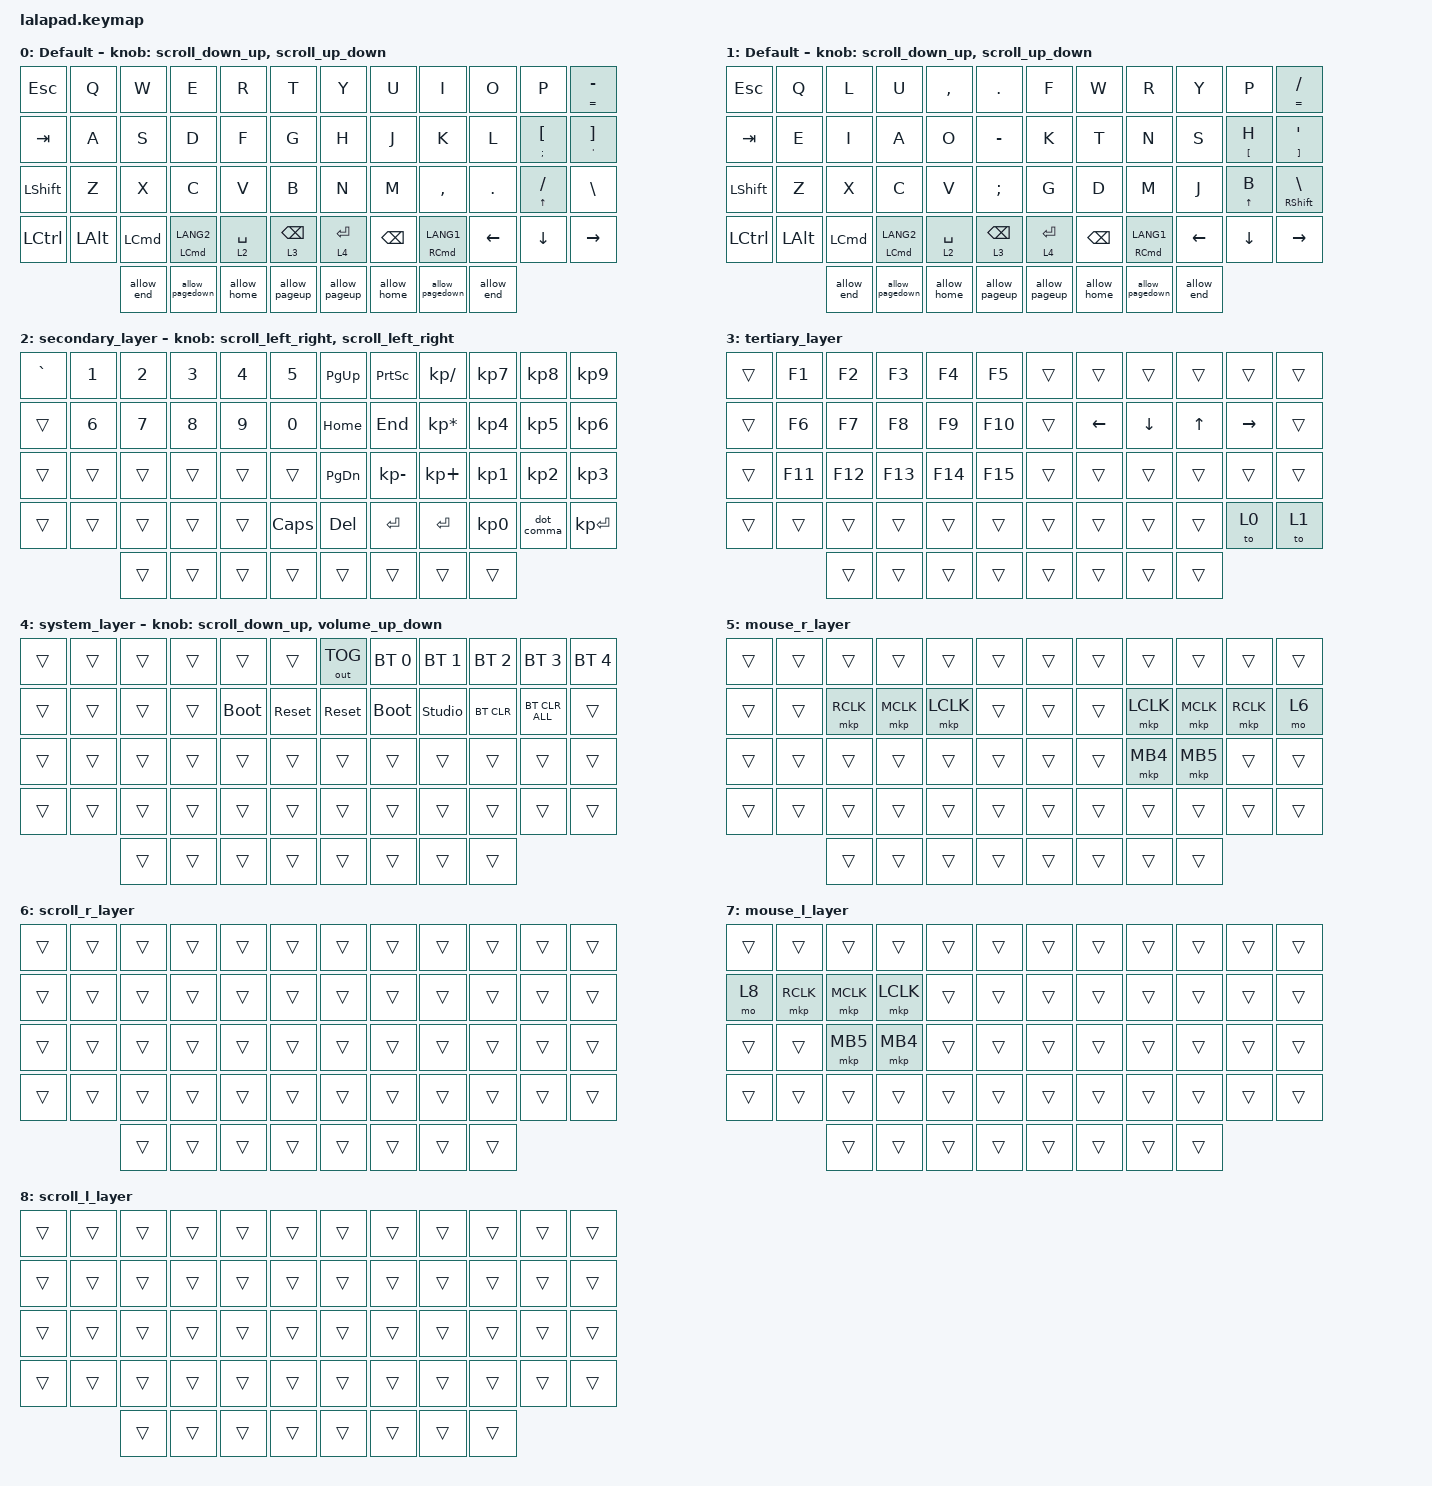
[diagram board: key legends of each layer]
#include <input/processors.dtsi>
#include <behaviors.dtsi>
#include <dt-bindings/zmk/bt.h>
#include <dt-bindings/zmk/keys.h>
#include <dt-bindings/zmk/outputs.h>
#include <dt-bindings/zmk/pointing.h>

#define DEFAULT_LAYER     0
#define O24_DEFAULT_LAYER 1
#define SECONDARY_LAYER   2
#define TERTIARY_LAYER    3
#define SYSTEM_LAYER      4
#define MOUSE_R_LAYER     5
#define SCROLL_R_LAYER    6
#define MOUSE_L_LAYER     7
#define SCROLL_L_LAYER    8

// Mouse Scroll Value

#define ZMK_POINTING_DEFAULT_SCRL_VAL 100

// cirque trackpad input&layer control

&glidepoint_listener_R {
    input-processors =
        <&zip_xy_transform (INPUT_TRANSFORM_XY_SWAP | INPUT_TRANSFORM_X_INVERT | INPUT_TRANSFORM_Y_INVERT)>,
        <&zip_xy_scaler 3 2>,
        <&zip_temp_layer MOUSE_R_LAYER 500>;

    lowspeedmode {
        layers = <SECONDARY_LAYER>;
        input-processors =
            <&zip_xy_transform (INPUT_TRANSFORM_XY_SWAP | INPUT_TRANSFORM_X_INVERT | INPUT_TRANSFORM_Y_INVERT)>,
            <&zip_xy_scaler 3 5>,
            <&zip_temp_layer MOUSE_R_LAYER 500>;
    };

    scroller {
        layers = <SCROLL_R_LAYER>;
        input-processors =
            <&zip_xy_to_scroll_mapper>,
            <&zip_scroll_transform (INPUT_TRANSFORM_XY_SWAP | INPUT_TRANSFORM_Y_INVERT)>,
            <&zip_scroll_scaler 1 8>;
    };
};

&glidepoint_listener_L {
    input-processors =
        <&zip_xy_transform (INPUT_TRANSFORM_XY_SWAP | INPUT_TRANSFORM_X_INVERT | INPUT_TRANSFORM_Y_INVERT)>,
        <&zip_xy_scaler 3 2>,
        <&zip_temp_layer MOUSE_L_LAYER 500>;

    lowspeedmode {
        layers = <SECONDARY_LAYER>;
        input-processors =
            <&zip_xy_transform (INPUT_TRANSFORM_XY_SWAP | INPUT_TRANSFORM_X_INVERT | INPUT_TRANSFORM_Y_INVERT)>,
            <&zip_xy_scaler 3 4>,
            <&zip_temp_layer MOUSE_L_LAYER 500>;
    };

    scroller {
        layers = <SCROLL_L_LAYER>;
        input-processors =
            <&zip_xy_to_scroll_mapper>,
            <&zip_scroll_transform (INPUT_TRANSFORM_XY_SWAP | INPUT_TRANSFORM_Y_INVERT)>,
            <&zip_scroll_scaler 1 6>;
    };
};

/ {
    behaviors {
        // Encoder to Mouse Scroll

        scroll_up_down: sensor_scroll_up_down {
            compatible = "zmk,behavior-sensor-rotate";
            #sensor-binding-cells = <0>;
            bindings = <&msc SCRL_UP>, <&msc SCRL_DOWN>;

            tap-ms = <20>;
            label = "SCROLL_UP_DOWN";
        };

        scroll_down_up: sensor_scroll_down_up {
            compatible = "zmk,behavior-sensor-rotate";
            #sensor-binding-cells = <0>;
            bindings = <&msc SCRL_DOWN>, <&msc SCRL_UP>;

            tap-ms = <20>;
            label = "SCROLL_DOWN_UP";
        };

        scroll_left_right: sensor_scroll_left_right {
            compatible = "zmk,behavior-sensor-rotate";
            #sensor-binding-cells = <0>;
            bindings = <&msc SCRL_LEFT>, <&msc SCRL_RIGHT>;

            tap-ms = <20>;
            label = "SCROLL_LEFT_RIGHT";
        };

        scroll_right_left: sensor_scroll_right_left {
            compatible = "zmk,behavior-sensor-rotate";
            #sensor-binding-cells = <0>;
            bindings = <&msc SCRL_RIGHT>, <&msc SCRL_LEFT>;

            tap-ms = <20>;
            label = "SCROLL_RIGHT_LEFT";
        };

        volume_up_down: sensor_volume_up_down {
            compatible = "zmk,behavior-sensor-rotate";
            #sensor-binding-cells = <0>;
            bindings = <&kp C_VOLUME_UP>, <&kp C_VOLUME_DOWN>;

            tap-ms = <20>;
            label = "VOLUME_UP_DOWN";
        };

        dot_comma: dot_comma {
            compatible = "zmk,behavior-mod-morph";
            #binding-cells = <0>;
            bindings = <&kp KP_DOT>, <&kp COMMA>;

            mods = <(MOD_LSFT|MOD_RSFT)>;
            label = "DOT_COMMA";
        };

        pls_minus: pls_minus {
            compatible = "zmk,behavior-mod-morph";
            #binding-cells = <0>;
            bindings = <&kp PLUS>, <&kp MINUS>;

            mods = <(MOD_LSFT|MOD_RSFT)>;
            label = "PLS_MINUS";
        };

        allow_pageup: allow_pageup {
            compatible = "zmk,behavior-mod-morph";
            #binding-cells = <0>;
            bindings = <&kp UP>, <&kp PAGE_UP>;

            mods = <(MOD_LCTL|MOD_RCTL)>;
            label = "ALLOW_PAGEUP";
        };

        allow_pagedown: allow_pagedown {
            compatible = "zmk,behavior-mod-morph";
            #binding-cells = <0>;
            bindings = <&kp DOWN>, <&kp PAGE_DOWN>;

            mods = <(MOD_LCTL|MOD_RCTL)>;
            label = "ALLOW_PAGEDOWN";
        };

        allow_home: allow_home {
            compatible = "zmk,behavior-mod-morph";
            #binding-cells = <0>;
            bindings = <&kp LEFT>, <&kp HOME>;

            mods = <(MOD_LCTL|MOD_RCTL)>;
            label = "ALLOW_HOME";
        };

        allow_end: allow_end {
            compatible = "zmk,behavior-mod-morph";
            #binding-cells = <0>;
            bindings = <&kp RIGHT>, <&kp END>;

            mods = <(MOD_LCTL|MOD_RCTL)>;
            label = "ALLOW_END";
        };

        mt2: mod_tap2 {
            compatible = "zmk,behavior-hold-tap";
            #binding-cells = <2>;
            flavor = "tap-preferred";
            tapping-term-ms = <200>;
            quick-tap-ms = <200>;
            require-prior-idle-ms = <125>;
            bindings = <&kp>, <&kp>;
        };

        lt2: layer_tap2 {
            compatible = "zmk,behavior-hold-tap";
            label = "LT2";
            bindings = <&mo>, <&kp>;

            #binding-cells = <2>;
            tapping-term-ms = <200>;
            quick-tap-ms = <200>;
            flavor = "tap-preferred";
        };
    };

    combos {
        compatible = "zmk,combos";

        Enter {
            bindings = <&kp ENTER>;
            key-positions = <43 44>;
        };

        Shift {
            bindings = <&kp RIGHT_SHIFT>;
            key-positions = <33 34>;
        };
    };

    keymap {
        compatible = "zmk,keymap";

        DEFAULT_LAYER {
            display-name = "Default";
            sensor-bindings = <&scroll_down_up>, <&scroll_up_down>;

            bindings = <
&kp ESC    &kp Q         &kp W             &kp E                   &kp R         &kp T             &kp Y          &kp U          &kp I                    &kp O       &kp P           &mt EQUAL MINUS
&kp TAB    &kp A         &kp S             &kp D                   &kp F         &kp G             &kp H          &kp J          &kp K                    &kp L       &mt2 SEMI LBKT  &mt2 SQT RBKT
&kp LSHFT  &kp Z         &kp X             &kp C                   &kp V         &kp B             &kp N          &kp M          &kp COMMA                &kp PERIOD  &mt2 UP SLASH   &kp BSLH
&kp LCTRL  &kp LEFT_ALT  &kp LEFT_COMMAND  &mt LEFT_COMMAND LANG2  &lt2 2 SPACE  &lt2 3 BACKSPACE  &lt 4 RETURN   &kp BACKSPACE  &mt RIGHT_COMMAND LANG1  &kp LEFT    &kp DOWN        &kp RIGHT
                         &allow_end        &allow_pagedown         &allow_home   &allow_pageup     &allow_pageup  &allow_home    &allow_pagedown          &allow_end
            >;
        };

        O24_DEFAULT_LAYER {
            display-name = "Default";
            bindings = <
&kp ESC    &kp Q         &kp L             &kp U                   &kp COMMA     &kp PERIOD        &kp F          &kp W          &kp R                    &kp Y       &kp P        &mt EQUAL SLASH
&kp TAB    &kp E         &kp I             &kp A                   &kp O         &kp MINUS         &kp K          &kp T          &kp N                    &kp S       &mt2 LBKT H  &mt2 RIGHT_BRACKET SQT
&kp LSHFT  &kp Z         &kp X             &kp C                   &kp V         &kp SEMICOLON     &kp G          &kp D          &kp M                    &kp J       &mt2 UP B    &mt RSHFT BSLH
&kp LCTRL  &kp LEFT_ALT  &kp LEFT_COMMAND  &mt LEFT_COMMAND LANG2  &lt2 2 SPACE  &lt2 3 BACKSPACE  &lt 4 RETURN   &kp BACKSPACE  &mt RIGHT_COMMAND LANG1  &kp LEFT    &kp DOWN     &kp RIGHT
                         &allow_end        &allow_pagedown         &allow_home   &allow_pageup     &allow_pageup  &allow_home    &allow_pagedown          &allow_end
            >;

            sensor-bindings = <&scroll_down_up>, <&scroll_up_down>;
        };

        SECONDARY_LAYER {
            display-name = "secondary_layer";
            sensor-bindings = <&scroll_left_right>, <&scroll_left_right>;

            bindings = <
&kp GRAVE  &kp NUMBER_1  &kp NUMBER_2  &kp NUMBER_3  &kp NUMBER_4  &kp NUMBER_5  &kp PAGE_UP    &kp PRINTSCREEN  &kp KP_SLASH     &kp KP_NUMBER_7  &kp KP_NUMBER_8  &kp KP_NUMBER_9
&trans     &kp NUMBER_6  &kp NUMBER_7  &kp NUMBER_8  &kp NUMBER_9  &kp NUMBER_0  &kp HOME       &kp END          &kp KP_ASTERISK  &kp KP_NUMBER_4  &kp KP_NUMBER_5  &kp KP_NUMBER_6
&trans     &trans        &trans        &trans        &trans        &trans        &kp PAGE_DOWN  &kp KP_MINUS     &kp KP_PLUS      &kp KP_NUMBER_1  &kp KP_NUMBER_2  &kp KP_NUMBER_3
&trans     &trans        &trans        &trans        &trans        &kp CAPS      &kp DELETE     &kp RETURN       &kp RET          &kp KP_NUMBER_0  &dot_comma       &kp KP_ENTER
                         &trans        &trans        &trans        &trans        &trans         &trans           &trans           &trans
            >;
        };

        TERTIARY_LAYER {
            display-name = "tertiary_layer";
            bindings = <
&trans  &kp F1   &kp F2   &kp F3   &kp F4   &kp F5   &trans  &trans          &trans          &trans        &trans           &trans
&trans  &kp F6   &kp F7   &kp F8   &kp F9   &kp F10  &trans  &kp LEFT_ARROW  &kp DOWN_ARROW  &kp UP_ARROW  &kp RIGHT_ARROW  &trans
&trans  &kp F11  &kp F12  &kp F13  &kp F14  &kp F15  &trans  &trans          &trans          &trans        &trans           &trans
&trans  &trans   &trans   &trans   &trans   &trans   &trans  &trans          &trans          &trans        &to 0            &to 1
                 &trans   &trans   &trans   &trans   &trans  &trans          &trans          &trans
            >;
        };

        SYSTEM_LAYER {
            display-name = "system_layer";
            sensor-bindings = <&scroll_down_up>, <&volume_up_down>;

            bindings = <
&trans  &trans  &trans  &trans  &trans       &trans      &out OUT_TOG  &bt BT_SEL 0  &bt BT_SEL 1    &bt BT_SEL 2  &bt BT_SEL 3    &bt BT_SEL 4
&trans  &trans  &trans  &trans  &bootloader  &sys_reset  &sys_reset    &bootloader   &studio_unlock  &bt BT_CLR    &bt BT_CLR_ALL  &trans
&trans  &trans  &trans  &trans  &trans       &trans      &trans        &trans        &trans          &trans        &trans          &trans
&trans  &trans  &trans  &trans  &trans       &trans      &trans        &trans        &trans          &trans        &trans          &trans
                &trans  &trans  &trans       &trans      &trans        &trans        &trans          &trans
            >;
        };

        MOUSE_R_LAYER {
            display-name = "mouse_r_layer";
            bindings = <
&trans  &trans  &trans     &trans     &trans     &trans  &trans  &trans  &trans     &trans     &trans     &trans
&trans  &trans  &mkp RCLK  &mkp MCLK  &mkp LCLK  &trans  &trans  &trans  &mkp LCLK  &mkp MCLK  &mkp RCLK  &mo 6
&trans  &trans  &trans     &trans     &trans     &trans  &trans  &trans  &mkp MB4   &mkp MB5   &trans     &trans
&trans  &trans  &trans     &trans     &trans     &trans  &trans  &trans  &trans     &trans     &trans     &trans
                &trans     &trans     &trans     &trans  &trans  &trans  &trans     &trans
            >;
        };

        SCROLL_R_LAYER {
            display-name = "scroll_r_layer";
            bindings = <
&trans  &trans  &trans  &trans  &trans  &trans  &trans  &trans  &trans  &trans  &trans  &trans
&trans  &trans  &trans  &trans  &trans  &trans  &trans  &trans  &trans  &trans  &trans  &trans
&trans  &trans  &trans  &trans  &trans  &trans  &trans  &trans  &trans  &trans  &trans  &trans
&trans  &trans  &trans  &trans  &trans  &trans  &trans  &trans  &trans  &trans  &trans  &trans
                &trans  &trans  &trans  &trans  &trans  &trans  &trans  &trans
            >;
        };

        MOUSE_L_LAYER {
            display-name = "mouse_l_layer";
            bindings = <
&trans  &trans     &trans     &trans     &trans  &trans  &trans  &trans  &trans  &trans  &trans  &trans
&mo 8   &mkp RCLK  &mkp MCLK  &mkp LCLK  &trans  &trans  &trans  &trans  &trans  &trans  &trans  &trans
&trans  &trans     &mkp MB5   &mkp MB4   &trans  &trans  &trans  &trans  &trans  &trans  &trans  &trans
&trans  &trans     &trans     &trans     &trans  &trans  &trans  &trans  &trans  &trans  &trans  &trans
                   &trans     &trans     &trans  &trans  &trans  &trans  &trans  &trans
            >;
        };

        SCROLL_L_LAYER {
            display-name = "scroll_l_layer";
            bindings = <
&trans  &trans  &trans  &trans  &trans  &trans  &trans  &trans  &trans  &trans  &trans  &trans
&trans  &trans  &trans  &trans  &trans  &trans  &trans  &trans  &trans  &trans  &trans  &trans
&trans  &trans  &trans  &trans  &trans  &trans  &trans  &trans  &trans  &trans  &trans  &trans
&trans  &trans  &trans  &trans  &trans  &trans  &trans  &trans  &trans  &trans  &trans  &trans
                &trans  &trans  &trans  &trans  &trans  &trans  &trans  &trans
            >;
        };
    };
};
